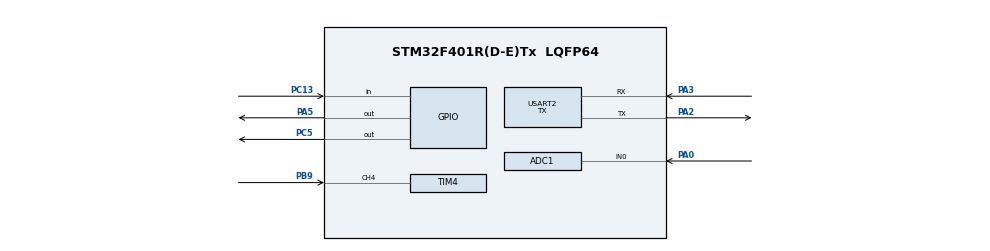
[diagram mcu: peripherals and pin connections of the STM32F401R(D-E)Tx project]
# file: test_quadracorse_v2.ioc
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ADC1.Channel-0\#ChannelRegularConversion=ADC_CHANNEL_0
ADC1.NbrOfConversion=1
ADC1.NbrOfConversionFlag=1
ADC1.Rank-0\#ChannelRegularConversion=1
ADC1.Resolution=ADC_RESOLUTION_8B
ADC1.SamplingTime-0\#ChannelRegularConversion=ADC_SAMPLETIME_3CYCLES
ADC1.master=1
Mcu.Family=STM32F4
Mcu.Name=STM32F401R(D-E)Tx
Mcu.Package=LQFP64
NVIC.ADC_IRQn=true\:2\:0\:true\:false\:true\:true\:true\:true
NVIC.PriorityGroup=NVIC_PRIORITYGROUP_4
NVIC.TIM3_IRQn=true\:1\:0\:true\:false\:true\:true\:true\:true
NVIC.TIM4_IRQn=true\:0\:0\:false\:false\:true\:true\:true\:true
PA0-WKUP.Signal=ADCx_IN0
PA2.Mode=Asynchronous
PA2.Signal=USART2_TX
PA3.Mode=Asynchronous
PA3.Signal=USART2_RX
PA5.Signal=GPIO_Output
PB9.Signal=S_TIM4_CH4
PC13-ANTI_TAMP.Signal=GPIO_Input
PC5.Signal=GPIO_Output
ProjectManager.HeapSize=0x200
ProjectManager.StackSize=0x400
ProjectManager.TargetToolchain=STM32CubeIDE
RCC.48MHZClocksFreq_Value=84000000
RCC.AHBFreq_Value=84000000
RCC.APB1CLKDivider=RCC_HCLK_DIV2
RCC.APB1Freq_Value=42000000
RCC.APB1TimFreq_Value=84000000
RCC.APB2Freq_Value=84000000
RCC.APB2TimFreq_Value=84000000
RCC.CortexFreq_Value=84000000
RCC.HCLKFreq_Value=84000000
RCC.HSE_VALUE=25000000
RCC.HSI_VALUE=16000000
RCC.LSE_VALUE=32768
RCC.PLLN=336
RCC.PLLP=RCC_PLLP_DIV4
RCC.SYSCLKFreq_VALUE=84000000
RCC.SYSCLKSource=RCC_SYSCLKSOURCE_PLLCLK
RCC.VCOOutputFreq_Value=336000000
SH.ADCx_IN0.0=ADC1_IN0,IN0
SH.S_TIM4_CH4.0=TIM4_CH4,Input_Capture4_from_TI4
TIM3.Channel-Output\ Compare1\ No\ Output=TIM_CHANNEL_1
TIM3.Channel-Output\ Compare2\ No\ Output=TIM_CHANNEL_2
TIM3.Channel-Output\ Compare3\ No\ Output=TIM_CHANNEL_3
TIM3.Prescaler=999
TIM4.Channel-Input_Capture4_from_TI4=TIM_CHANNEL_4
TIM4.ICPolarity_CH4=TIM_INPUTCHANNELPOLARITY_FALLING
USART2.Mode=MODE_TX
USART2.VirtualMode=VM_ASYNC
VP_ADC1_TempSens_Input.Mode=IN-TempSens
VP_TIM3_VS_no_output1.Mode=Output Compare1 No Output
VP_TIM3_VS_no_output2.Mode=Output Compare2 No Output
VP_TIM3_VS_no_output3.Mode=Output Compare3 No Output
VP_TIM4_VS_ClockSourceINT.Mode=Internal
board=custom

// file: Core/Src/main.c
/* USER CODE BEGIN Header */
/**
  ******************************************************************************
  * @file           : main.c
  * @brief          : Main program body
  ******************************************************************************
  * @attention
  *
  * Copyright (c) 2023 STMicroelectronics.
  * All rights reserved.
  *
  * This software is licensed under terms that can be found in the LICENSE file
  * in the root directory of this software component.
  * If no LICENSE file comes with this software, it is provided AS-IS.
  *
  ******************************************************************************
  */
/* USER CODE END Header */
#include "main.h"

/* USER CODE BEGIN PM */
TIM_HandleTypeDef htim4;

/* USER CODE END PM */

TIM_HandleTypeDef htim4;

UART_HandleTypeDef huart2;

/* USER CODE BEGIN PV */
volatile enum Stato stato_corrente = running_state;

unsigned soglia_500ms = 45454;
unsigned soglia_200ms = 18181;
unsigned soglia_350ms = 31818;

volatile int prima_pressione = 0;

/* USER CODE END PV */

void SystemClock_Config(void);
static void MX_GPIO_Init(void);
static void MX_ADC1_Init(void);
static void MX_TIM3_Init(void);
static void MX_USART2_UART_Init(void);
static void MX_TIM4_Init(void);

/* USER CODE BEGIN 0 */
void HAL_TIM_IC_CaptureCallback(TIM_HandleTypeDef *htim)
 	{

 	if(htim == &htim4){
 		if (prima_pressione == 0){ // se è prima pressione
 			prima_pressione = 1;   // setto flag pressione
 			stato_corrente = waiting_state;	// imposto stato di wait
 			LL_GPIO_WriteReg(GPIOC, ODR, LL_GPIO_ReadReg(GPIOA, ODR) & ~0b100000); // spengo GPIO PC5 collegato al led rosso sulla breadboard
 			LL_GPIO_WriteReg(GPIOA, ODR, LL_GPIO_ReadReg(GPIOA, ODR) & ~0b100000); // spengo GPIO PA5 collegato al led verde sulla board
 					}

 		else { // se è seconda pressione
 			prima_pressione = 0; // resetto flag pressione
 			stato_corrente = running_state; // imposto stato run
 	}
 	}
 	}
/* USER CODE END 0 */

int main(void)
{

  /* MCU Configuration--------------------------------------------------------*/

  /* Reset of all peripherals, Initializes the Flash interface and the Systick. */
  HAL_Init();

  /* Configure the system clock */
  SystemClock_Config();

  /* Initialize all configured peripherals */
  MX_GPIO_Init();
  MX_ADC1_Init();
  MX_TIM3_Init();
  MX_USART2_UART_Init();
  MX_TIM4_Init();
  /* USER CODE BEGIN 2 */

  __HAL_UART_ENABLE(&huart2); // abilita uart2
  LL_ADC_EnableIT_EOCS(ADC1); // abilita interrupt dell adc

  __HAL_UART_ENABLE(&huart2);  // enable dell uart
  LL_TIM_WriteReg(TIM3, CCR1, LL_TIM_ReadReg(TIM3,CCR1) | soglia_500ms); // impostazione soglia ch1
  LL_TIM_WriteReg(TIM3, CCR2, LL_TIM_ReadReg(TIM3,CCR2) | soglia_350ms); // impostazione soglia ch2
  LL_TIM_WriteReg(TIM3, CCR3, LL_TIM_ReadReg(TIM3,CCR3) | soglia_200ms); // impostazione soglia ch3

  LL_TIM_WriteReg(TIM3, CCMR1, (LL_TIM_ReadReg(TIM3,CCMR1) & ~0x808)); // disabilitazione registri shadow per ch1 e ch2
  LL_TIM_WriteReg(TIM3, CCMR2, (LL_TIM_ReadReg(TIM3,CCMR2) & ~0b1000)); // disabilitazione registri shadow

  ADC->CCR |= 1 <<23; // abilito sensore di temperatura https://controllerstech.com/dma-with-adc-using-registers-in-stm32/

  LL_TIM_WriteReg(TIM3, DIER,(LL_TIM_ReadReg(TIM3,DIER) | 0b11110));   // enable interrupt tim3

  __HAL_DBGMCU_FREEZE_TIM3(); // ferma tim3 durante stop del debugger
  LL_TIM_WriteReg(TIM3, CR1,( LL_TIM_ReadReg(TIM3, CR1) | 0x0001));  // start counter
  HAL_TIM_IC_Start_IT(&htim4, TIM_CHANNEL_4); // setta timer in input capture

  LL_ADC_WriteReg(ADC1, CR2,LL_ADC_ReadReg(ADC1, CR2) | 0b01); //enable adc

  /* USER CODE END 2 */

  /* Infinite loop */
  while (1)
  {

    /* USER CODE BEGIN 3 */
	  switch(stato_corrente){

		  	  case running_state:

		  		  break;

		  	  case danger_state:

		  		  break;

		  	  case waiting_state:

		  		  break;
	  }

    /* USER CODE BEGIN 3 */
	  }

  /* USER CODE END 3 */
}

void SystemClock_Config(void)
{
  LL_FLASH_SetLatency(LL_FLASH_LATENCY_2);
  while(LL_FLASH_GetLatency()!= LL_FLASH_LATENCY_2)
  {
  }
  LL_PWR_SetRegulVoltageScaling(LL_PWR_REGU_VOLTAGE_SCALE2);
  LL_RCC_HSI_SetCalibTrimming(16);
  LL_RCC_HSI_Enable();

   /* Wait till HSI is ready */
  while(LL_RCC_HSI_IsReady() != 1)
  {

  }
  LL_RCC_PLL_ConfigDomain_SYS(LL_RCC_PLLSOURCE_HSI, LL_RCC_PLLM_DIV_16, 336, LL_RCC_PLLP_DIV_4);
  LL_RCC_PLL_Enable();

   /* Wait till PLL is ready */
  while(LL_RCC_PLL_IsReady() != 1)
  {

  }
  while (LL_PWR_IsActiveFlag_VOS() == 0)
  {
  }
  LL_RCC_SetAHBPrescaler(LL_RCC_SYSCLK_DIV_1);
  LL_RCC_SetAPB1Prescaler(LL_RCC_APB1_DIV_2);
  LL_RCC_SetAPB2Prescaler(LL_RCC_APB2_DIV_1);
  LL_RCC_SetSysClkSource(LL_RCC_SYS_CLKSOURCE_PLL);

   /* Wait till System clock is ready */
  while(LL_RCC_GetSysClkSource() != LL_RCC_SYS_CLKSOURCE_STATUS_PLL)
  {

  }
  LL_SetSystemCoreClock(84000000);

   /* Update the time base */
  if (HAL_InitTick (TICK_INT_PRIORITY) != HAL_OK)
  {
    Error_Handler();
  }
  LL_RCC_SetTIMPrescaler(LL_RCC_TIM_PRESCALER_TWICE);
}

static void MX_ADC1_Init(void)
{

  LL_ADC_InitTypeDef ADC_InitStruct = {0};
  LL_ADC_REG_InitTypeDef ADC_REG_InitStruct = {0};
  LL_ADC_CommonInitTypeDef ADC_CommonInitStruct = {0};

  LL_GPIO_InitTypeDef GPIO_InitStruct = {0};

  /* Peripheral clock enable */
  LL_APB2_GRP1_EnableClock(LL_APB2_GRP1_PERIPH_ADC1);

  LL_AHB1_GRP1_EnableClock(LL_AHB1_GRP1_PERIPH_GPIOA);
  /**ADC1 GPIO Configuration
  PA0-WKUP   ------> ADC1_IN0
  */
  GPIO_InitStruct.Pin = LL_GPIO_PIN_0;
  GPIO_InitStruct.Mode = LL_GPIO_MODE_ANALOG;
  GPIO_InitStruct.Pull = LL_GPIO_PULL_NO;
  LL_GPIO_Init(GPIOA, &GPIO_InitStruct);

  /* ADC1 interrupt Init */
  NVIC_SetPriority(ADC_IRQn, NVIC_EncodePriority(NVIC_GetPriorityGrouping(),2, 0));
  NVIC_EnableIRQ(ADC_IRQn);

  /** Common config
  */
  ADC_InitStruct.Resolution = LL_ADC_RESOLUTION_8B;
  ADC_InitStruct.DataAlignment = LL_ADC_DATA_ALIGN_RIGHT;
  ADC_InitStruct.SequencersScanMode = LL_ADC_SEQ_SCAN_DISABLE;
  LL_ADC_Init(ADC1, &ADC_InitStruct);
  ADC_REG_InitStruct.TriggerSource = LL_ADC_REG_TRIG_SOFTWARE;
  ADC_REG_InitStruct.SequencerLength = LL_ADC_REG_SEQ_SCAN_DISABLE;
  ADC_REG_InitStruct.SequencerDiscont = LL_ADC_REG_SEQ_DISCONT_DISABLE;
  ADC_REG_InitStruct.ContinuousMode = LL_ADC_REG_CONV_SINGLE;
  ADC_REG_InitStruct.DMATransfer = LL_ADC_REG_DMA_TRANSFER_NONE;
  LL_ADC_REG_Init(ADC1, &ADC_REG_InitStruct);
  LL_ADC_REG_SetFlagEndOfConversion(ADC1, LL_ADC_REG_FLAG_EOC_UNITARY_CONV);
  ADC_CommonInitStruct.CommonClock = LL_ADC_CLOCK_SYNC_PCLK_DIV4;
  LL_ADC_CommonInit(__LL_ADC_COMMON_INSTANCE(ADC1), &ADC_CommonInitStruct);

  /** Configure Regular Channel
  */
  LL_ADC_REG_SetSequencerRanks(ADC1, LL_ADC_REG_RANK_1, LL_ADC_CHANNEL_0);
  LL_ADC_SetChannelSamplingTime(ADC1, LL_ADC_CHANNEL_0, LL_ADC_SAMPLINGTIME_3CYCLES);

}

static void MX_TIM3_Init(void)
{

  LL_TIM_InitTypeDef TIM_InitStruct = {0};
  LL_TIM_OC_InitTypeDef TIM_OC_InitStruct = {0};

  /* Peripheral clock enable */
  LL_APB1_GRP1_EnableClock(LL_APB1_GRP1_PERIPH_TIM3);

  /* TIM3 interrupt Init */
  NVIC_SetPriority(TIM3_IRQn, NVIC_EncodePriority(NVIC_GetPriorityGrouping(),1, 0));
  NVIC_EnableIRQ(TIM3_IRQn);

  TIM_InitStruct.Prescaler = 999;
  TIM_InitStruct.CounterMode = LL_TIM_COUNTERMODE_UP;
  TIM_InitStruct.Autoreload = 65535;
  TIM_InitStruct.ClockDivision = LL_TIM_CLOCKDIVISION_DIV1;
  LL_TIM_Init(TIM3, &TIM_InitStruct);
  LL_TIM_DisableARRPreload(TIM3);
  TIM_OC_InitStruct.OCMode = LL_TIM_OCMODE_FROZEN;
  TIM_OC_InitStruct.OCState = LL_TIM_OCSTATE_DISABLE;
  TIM_OC_InitStruct.OCNState = LL_TIM_OCSTATE_DISABLE;
  TIM_OC_InitStruct.CompareValue = 0;
  TIM_OC_InitStruct.OCPolarity = LL_TIM_OCPOLARITY_HIGH;
  LL_TIM_OC_Init(TIM3, LL_TIM_CHANNEL_CH1, &TIM_OC_InitStruct);
  LL_TIM_OC_DisableFast(TIM3, LL_TIM_CHANNEL_CH1);
  LL_TIM_OC_Init(TIM3, LL_TIM_CHANNEL_CH2, &TIM_OC_InitStruct);
  LL_TIM_OC_DisableFast(TIM3, LL_TIM_CHANNEL_CH2);
  LL_TIM_OC_Init(TIM3, LL_TIM_CHANNEL_CH3, &TIM_OC_InitStruct);
  LL_TIM_OC_DisableFast(TIM3, LL_TIM_CHANNEL_CH3);
  LL_TIM_SetTriggerOutput(TIM3, LL_TIM_TRGO_RESET);
  LL_TIM_DisableMasterSlaveMode(TIM3);

}

static void MX_TIM4_Init(void)
{

  TIM_ClockConfigTypeDef sClockSourceConfig = {0};
  TIM_MasterConfigTypeDef sMasterConfig = {0};
  TIM_IC_InitTypeDef sConfigIC = {0};

  htim4.Instance = TIM4;
  htim4.Init.Prescaler = 0;
  htim4.Init.CounterMode = TIM_COUNTERMODE_UP;
  htim4.Init.Period = 65535;
  htim4.Init.ClockDivision = TIM_CLOCKDIVISION_DIV1;
  htim4.Init.AutoReloadPreload = TIM_AUTORELOAD_PRELOAD_DISABLE;
  if (HAL_TIM_Base_Init(&htim4) != HAL_OK)
  {
    Error_Handler();
  }
  sClockSourceConfig.ClockSource = TIM_CLOCKSOURCE_INTERNAL;
  if (HAL_TIM_ConfigClockSource(&htim4, &sClockSourceConfig) != HAL_OK)
  {
    Error_Handler();
  }
  if (HAL_TIM_IC_Init(&htim4) != HAL_OK)
  {
    Error_Handler();
  }
  sMasterConfig.MasterOutputTrigger = TIM_TRGO_RESET;
  sMasterConfig.MasterSlaveMode = TIM_MASTERSLAVEMODE_DISABLE;
  if (HAL_TIMEx_MasterConfigSynchronization(&htim4, &sMasterConfig) != HAL_OK)
  {
    Error_Handler();
  }
  sConfigIC.ICPolarity = TIM_INPUTCHANNELPOLARITY_FALLING;
  sConfigIC.ICSelection = TIM_ICSELECTION_DIRECTTI;
  sConfigIC.ICPrescaler = TIM_ICPSC_DIV1;
  sConfigIC.ICFilter = 0;
  if (HAL_TIM_IC_ConfigChannel(&htim4, &sConfigIC, TIM_CHANNEL_4) != HAL_OK)
  {
    Error_Handler();
  }

}

static void MX_USART2_UART_Init(void)
{

  huart2.Instance = USART2;
  huart2.Init.BaudRate = 115200;
  huart2.Init.WordLength = UART_WORDLENGTH_8B;
  huart2.Init.StopBits = UART_STOPBITS_1;
  huart2.Init.Parity = UART_PARITY_NONE;
  huart2.Init.Mode = UART_MODE_TX;
  huart2.Init.HwFlowCtl = UART_HWCONTROL_NONE;
  huart2.Init.OverSampling = UART_OVERSAMPLING_16;
  if (HAL_UART_Init(&huart2) != HAL_OK)
  {
    Error_Handler();
  }

}

static void MX_GPIO_Init(void)
{
  LL_GPIO_InitTypeDef GPIO_InitStruct = {0};

  /* GPIO Ports Clock Enable */
  LL_AHB1_GRP1_EnableClock(LL_AHB1_GRP1_PERIPH_GPIOC);
  LL_AHB1_GRP1_EnableClock(LL_AHB1_GRP1_PERIPH_GPIOA);
  LL_AHB1_GRP1_EnableClock(LL_AHB1_GRP1_PERIPH_GPIOB);

  /**/
  LL_GPIO_ResetOutputPin(GPIOA, LL_GPIO_PIN_5);

  /**/
  LL_GPIO_ResetOutputPin(GPIOC, LL_GPIO_PIN_5);

  /**/
  GPIO_InitStruct.Pin = LL_GPIO_PIN_13;
  GPIO_InitStruct.Mode = LL_GPIO_MODE_INPUT;
  GPIO_InitStruct.Pull = LL_GPIO_PULL_NO;
  LL_GPIO_Init(GPIOC, &GPIO_InitStruct);

  /**/
  GPIO_InitStruct.Pin = LL_GPIO_PIN_5;
  GPIO_InitStruct.Mode = LL_GPIO_MODE_OUTPUT;
  GPIO_InitStruct.Speed = LL_GPIO_SPEED_FREQ_LOW;
  GPIO_InitStruct.OutputType = LL_GPIO_OUTPUT_PUSHPULL;
  GPIO_InitStruct.Pull = LL_GPIO_PULL_NO;
  LL_GPIO_Init(GPIOA, &GPIO_InitStruct);

  /**/
  GPIO_InitStruct.Pin = LL_GPIO_PIN_5;
  GPIO_InitStruct.Mode = LL_GPIO_MODE_OUTPUT;
  GPIO_InitStruct.Speed = LL_GPIO_SPEED_FREQ_LOW;
  GPIO_InitStruct.OutputType = LL_GPIO_OUTPUT_PUSHPULL;
  GPIO_InitStruct.Pull = LL_GPIO_PULL_NO;
  LL_GPIO_Init(GPIOC, &GPIO_InitStruct);

}

void Error_Handler(void)
{
  __disable_irq();
  while (1)
  {
  }
}
